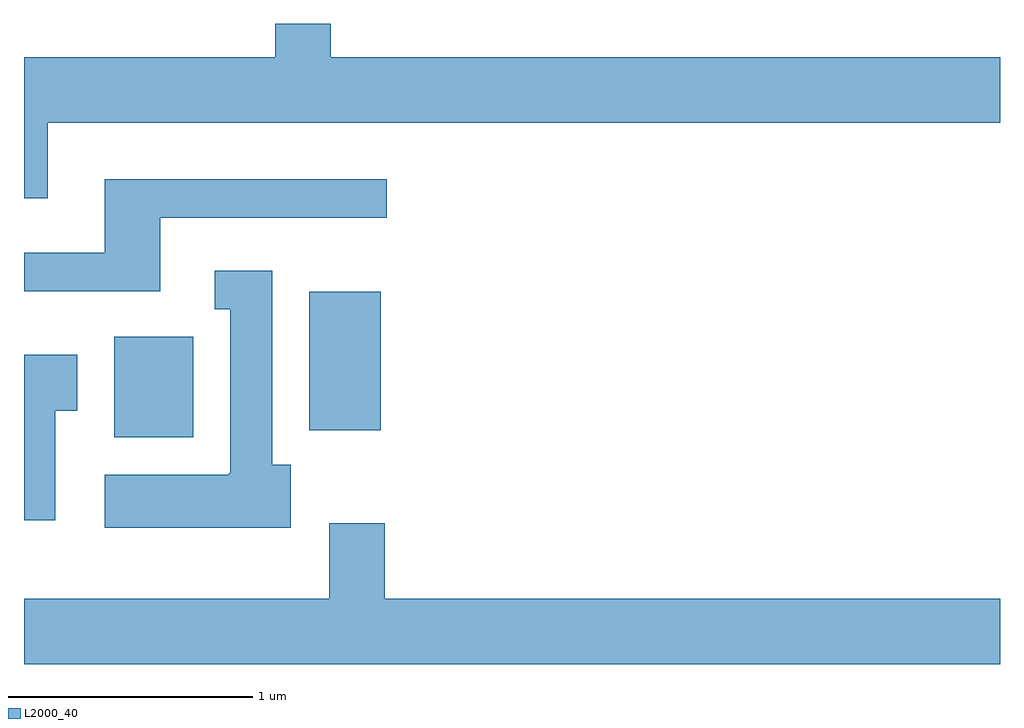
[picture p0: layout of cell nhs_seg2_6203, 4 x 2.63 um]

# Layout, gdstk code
import gdstk
lib = gdstk.Library(unit=1e-6, precision=1e-09)
def R(c, l, rs):  # rectangles x0, y0, x1, y1
    for r in rs: c.add(gdstk.rectangle(r[:2], r[2:], *l))
def P(c, l, *ps):  # polygons
    for p in ps: c.add(gdstk.Polygon(p, *l))
L2000_40 = (2000, 40)

nhs_seg2_6203 = lib.new_cell('nhs_seg2_6203')
R(nhs_seg2_6203, L2000_40, [(367.981,1078.106,368.304,1078.519), (368.781,1078.136,369.074,1078.704)])
P(nhs_seg2_6203, L2000_40, [(367.709,1079.396),(371.611,1079.396),(371.611,1079.664),(368.869,1079.664),(368.869,1079.802),(368.641,1079.802),(368.641,1079.664),(367.611,1079.664),(367.611,1079.086),(367.709,1079.086)],
  [(368.169,1079.006),(369.098,1079.006),(369.098,1079.164),(367.941,1079.164),(367.941,1078.864),(367.611,1078.864),(367.611,1078.706),(368.169,1078.706)],
  [(368.704,1077.994),(368.629,1077.994),(368.629,1078.789),(368.393,1078.789),(368.393,1078.631),(368.456,1078.631),(368.456,1077.96),(368.45,1077.96),(368.45,1077.954),(367.941,1077.954),(367.941,1077.736),(368.704,1077.736)],
  [(367.739,1078.216),(367.829,1078.216),(367.829,1078.444),(367.611,1078.444),(367.611,1077.766),(367.739,1077.766)],
  [(371.611,1077.444),(369.089,1077.444),(369.089,1077.754),(368.861,1077.754),(368.861,1077.444),(367.611,1077.444),(367.611,1077.176),(371.611,1077.176)])

lib.write_gds('nhs_seg2_6203.gds')
